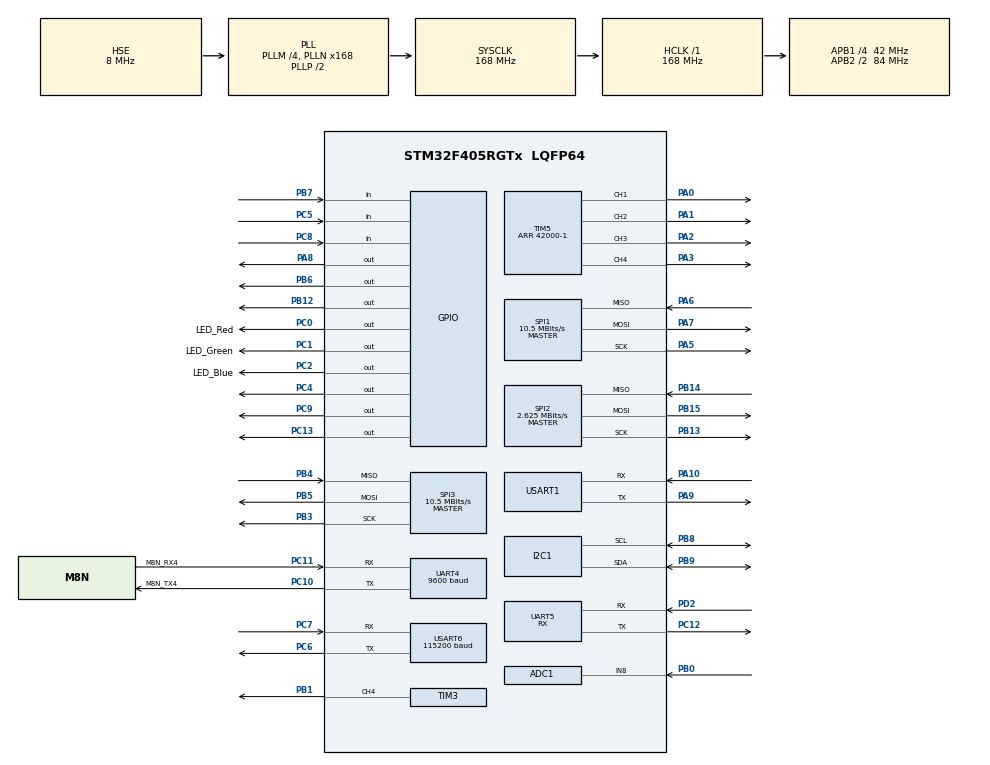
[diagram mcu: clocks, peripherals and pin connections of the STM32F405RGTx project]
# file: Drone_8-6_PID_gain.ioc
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ADC1.Channel-0\#ChannelRegularConversion=ADC_CHANNEL_8
ADC1.ClockPrescaler=ADC_CLOCK_SYNC_PCLK_DIV8
ADC1.ContinuousConvMode=ENABLE
ADC1.DMAContinuousRequests=ENABLE
ADC1.NbrOfConversionFlag=1
ADC1.Rank-0\#ChannelRegularConversion=1
ADC1.SamplingTime-0\#ChannelRegularConversion=ADC_SAMPLETIME_480CYCLES
ADC1.master=1
Dma.ADC1.0.Direction=DMA_PERIPH_TO_MEMORY
Dma.ADC1.0.FIFOMode=DMA_FIFOMODE_DISABLE
Dma.ADC1.0.Instance=DMA2_Stream0
Dma.ADC1.0.MemDataAlignment=DMA_MDATAALIGN_HALFWORD
Dma.ADC1.0.MemInc=DMA_MINC_DISABLE
Dma.ADC1.0.Mode=DMA_CIRCULAR
Dma.ADC1.0.PeriphDataAlignment=DMA_PDATAALIGN_HALFWORD
Dma.ADC1.0.PeriphInc=DMA_PINC_DISABLE
Dma.ADC1.0.Priority=DMA_PRIORITY_LOW
Dma.Request0=ADC1
I2C1.I2C_Mode=I2C_Fast
Mcu.Family=STM32F4
Mcu.Name=STM32F405RGTx
Mcu.Package=LQFP64
NVIC.DMA2_Stream0_IRQn=true\:0\:0\:false\:false\:true\:false\:true\:true
NVIC.PriorityGroup=NVIC_PRIORITYGROUP_4
NVIC.TIM7_IRQn=true\:0\:0\:false\:false\:true\:true\:true\:true
NVIC.UART4_IRQn=true\:0\:0\:false\:false\:true\:true\:true\:true
NVIC.UART5_IRQn=true\:0\:0\:false\:false\:true\:true\:true\:true
NVIC.USART1_IRQn=true\:0\:0\:false\:false\:true\:true\:true\:true
NVIC.USART6_IRQn=true\:0\:0\:false\:false\:true\:true\:true\:true
PA0-WKUP.Signal=S_TIM5_CH1
PA1.Signal=S_TIM5_CH2
PA10.Mode=Asynchronous
PA10.Signal=USART1_RX
PA2.Signal=S_TIM5_CH3
PA3.Signal=S_TIM5_CH4
PA5.Mode=Full_Duplex_Master
PA5.Signal=SPI1_SCK
PA6.Mode=Full_Duplex_Master
PA6.Signal=SPI1_MISO
PA7.Mode=Full_Duplex_Master
PA7.Signal=SPI1_MOSI
PA8.Signal=GPIO_Output
PA9.Mode=Asynchronous
PA9.Signal=USART1_TX
PB0.Signal=ADCx_IN8
PB1.Signal=S_TIM3_CH4
PB12.Signal=GPIO_Output
PB13.Mode=Full_Duplex_Master
PB13.Signal=SPI2_SCK
PB14.Mode=Full_Duplex_Master
PB14.Signal=SPI2_MISO
PB15.Mode=Full_Duplex_Master
PB15.Signal=SPI2_MOSI
PB3.Mode=Full_Duplex_Master
PB3.Signal=SPI3_SCK
PB4.Mode=Full_Duplex_Master
PB4.Signal=SPI3_MISO
PB5.Mode=Full_Duplex_Master
PB5.Signal=SPI3_MOSI
PB6.Signal=GPIO_Output
PB7.Signal=GPIO_Input
PB8.Mode=I2C
PB8.Signal=I2C1_SCL
PB9.Mode=I2C
PB9.Signal=I2C1_SDA
PC0.GPIO_Label=LED_Red
PC0.Signal=GPIO_Output
PC1.GPIO_Label=LED_Green
PC1.Signal=GPIO_Output
PC10.GPIO_Label=M8N_TX4
PC10.Mode=Asynchronous
PC10.Signal=UART4_TX
PC11.GPIO_Label=M8N_RX4
PC11.Mode=Asynchronous
PC11.Signal=UART4_RX
PC12.Mode=Asynchronous
PC12.Signal=UART5_TX
PC13-ANTI_TAMP.PinState=GPIO_PIN_SET
PC13-ANTI_TAMP.Signal=GPIO_Output
PC2.GPIO_Label=LED_Blue
PC2.Signal=GPIO_Output
PC4.Signal=GPIO_Output
PC5.Signal=GPIO_Input
PC6.Mode=Asynchronous
PC6.Signal=USART6_TX
PC7.Mode=Asynchronous
PC7.Signal=USART6_RX
PC8.Signal=GPIO_Input
PC9.Signal=GPIO_Output
PD2.Mode=Asynchronous
PD2.Signal=UART5_RX
PH0-OSC_IN.Mode=HSE-External-Oscillator
PH0-OSC_IN.Signal=RCC_OSC_IN
PH1-OSC_OUT.Mode=HSE-External-Oscillator
PH1-OSC_OUT.Signal=RCC_OSC_OUT
ProjectManager.HeapSize=0x200
ProjectManager.StackSize=0x400
ProjectManager.TargetToolchain=CMake
RCC.48MHZClocksFreq_Value=84000000
RCC.AHBFreq_Value=168000000
RCC.APB1CLKDivider=RCC_HCLK_DIV4
RCC.APB1Freq_Value=42000000
RCC.APB1TimFreq_Value=84000000
RCC.APB2CLKDivider=RCC_HCLK_DIV2
RCC.APB2Freq_Value=84000000
RCC.APB2TimFreq_Value=168000000
RCC.CortexFreq_Value=168000000
RCC.HCLKFreq_Value=168000000
RCC.HSE_VALUE=8000000
RCC.HSI_VALUE=16000000
RCC.LSE_VALUE=32768
RCC.PLLM=4
RCC.PLLN=168
RCC.PLLSourceVirtual=RCC_PLLSOURCE_HSE
RCC.SYSCLKFreq_VALUE=168000000
RCC.SYSCLKSource=RCC_SYSCLKSOURCE_PLLCLK
RCC.VCOOutputFreq_Value=336000000
SH.ADCx_IN8.0=ADC1_IN8,IN8
SH.S_TIM3_CH4.0=TIM3_CH4,PWM Generation4 CH4
SH.S_TIM5_CH1.0=TIM5_CH1,PWM Generation1 CH1
SH.S_TIM5_CH2.0=TIM5_CH2,PWM Generation2 CH2
SH.S_TIM5_CH3.0=TIM5_CH3,PWM Generation3 CH3
SH.S_TIM5_CH4.0=TIM5_CH4,PWM Generation4 CH4
SPI1.BaudRatePrescaler=SPI_BAUDRATEPRESCALER_8
SPI1.CLKPhase=SPI_PHASE_2EDGE
SPI1.CLKPolarity=SPI_POLARITY_HIGH
SPI1.CalculateBaudRate=10.5 MBits/s
SPI1.Direction=SPI_DIRECTION_2LINES
SPI1.Mode=SPI_MODE_MASTER
SPI1.VirtualType=VM_MASTER
SPI2.BaudRatePrescaler=SPI_BAUDRATEPRESCALER_16
SPI2.CLKPhase=SPI_PHASE_2EDGE
SPI2.CLKPolarity=SPI_POLARITY_HIGH
SPI2.CalculateBaudRate=2.625 MBits/s
SPI2.Direction=SPI_DIRECTION_2LINES
SPI2.Mode=SPI_MODE_MASTER
SPI2.VirtualType=VM_MASTER
SPI3.BaudRatePrescaler=SPI_BAUDRATEPRESCALER_4
SPI3.CLKPhase=SPI_PHASE_2EDGE
SPI3.CLKPolarity=SPI_POLARITY_HIGH
SPI3.CalculateBaudRate=10.5 MBits/s
SPI3.Direction=SPI_DIRECTION_2LINES
SPI3.Mode=SPI_MODE_MASTER
SPI3.VirtualType=VM_MASTER
TIM3.AutoReloadPreload=TIM_AUTORELOAD_PRELOAD_ENABLE
TIM3.Channel-PWM\ Generation4\ CH4=TIM_CHANNEL_4
TIM3.OCFastMode_PWM-PWM\ Generation4\ CH4=TIM_OCFAST_ENABLE
TIM3.Period=21-1
TIM3.Prescaler=1000-1
TIM3.Pulse-PWM\ Generation4\ CH4=11-1
TIM5.AutoReloadPreload=TIM_AUTORELOAD_PRELOAD_ENABLE
TIM5.Channel-PWM\ Generation1\ CH1=TIM_CHANNEL_1
TIM5.Channel-PWM\ Generation2\ CH2=TIM_CHANNEL_2
TIM5.Channel-PWM\ Generation3\ CH3=TIM_CHANNEL_3
TIM5.Channel-PWM\ Generation4\ CH4=TIM_CHANNEL_4
TIM5.OCFastMode_PWM-PWM\ Generation1\ CH1=TIM_OCFAST_ENABLE
TIM5.OCFastMode_PWM-PWM\ Generation2\ CH2=TIM_OCFAST_ENABLE
TIM5.OCFastMode_PWM-PWM\ Generation3\ CH3=TIM_OCFAST_ENABLE
TIM5.OCFastMode_PWM-PWM\ Generation4\ CH4=TIM_OCFAST_ENABLE
TIM5.Period=42000-1
TIM5.Pulse-PWM\ Generation1\ CH1=0
TIM5.Pulse-PWM\ Generation2\ CH2=0
TIM5.Pulse-PWM\ Generation3\ CH3=31500-1
TIM7.AutoReloadPreload=TIM_AUTORELOAD_PRELOAD_ENABLE
TIM7.Period=2-1
TIM7.Prescaler=42000-1
UART4.BaudRate=9600
UART4.VirtualMode=Asynchronous
UART5.Mode=MODE_RX
UART5.VirtualMode=Asynchronous
USART1.VirtualMode=VM_ASYNC
USART6.BaudRate=115200
USART6.VirtualMode=VM_ASYNC
VP_TIM3_VS_ClockSourceINT.Mode=Internal
VP_TIM5_VS_ClockSourceINT.Mode=Internal
VP_TIM7_VS_ClockSourceINT.Mode=Enable_Timer
board=custom

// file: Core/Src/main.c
/* USER CODE BEGIN Header */
/**
 ******************************************************************************
 * @file           : main.c
 * @brief          : Main program body
 ******************************************************************************
 * @attention
 *
 * Copyright (c) 2024 STMicroelectronics.
 * All rights reserved.
 *
 * This software is licensed under terms that can be found in the LICENSE file
 * in the root directory of this software component.
 * If no LICENSE file comes with this software, it is provided AS-IS.
 *
 ******************************************************************************
 */
/* USER CODE END Header */
#include "main.h"
#include "adc.h"
#include "dma.h"
#include "i2c.h"
#include "spi.h"
#include "tim.h"
#include "usart.h"
#include "gpio.h"

/* USER CODE BEGIN Includes */
#include "BNO080.h"
#include "Quaternion.h"
#include "ICM20602.h"
#include "LPS22HH.h"
#include "M8N.h"
#include "FS-iA6B.h"
#include "AT24C08.h"
#include <string.h>
/* USER CODE END Includes */

/* USER CODE BEGIN PTD */

int _write(int file, char *p, int len) {
	HAL_UART_Transmit_IT(&huart6, p, len);
	return len;
}

/* USER CODE END PTD */

/* USER CODE BEGIN PV */
uint8_t uart6_rxData;
uint8_t uart5_rxData;
uint8_t uart4_rxData;
uint8_t uart1_rxData;

uint8_t m8n_rx_buf[36]; //m8n 1frame data size
uint8_t m8n_rx_cplt_flag = 0;

uint8_t ibus_rx_buf[32];
uint8_t ibus_rx_cplt_flag = 0;

float batVolt;

uint8_t telemetry_tx_buf[40];
uint8_t telemetry_rx_buf[40];
uint8_t telemetry_rx_cplt_flag = 0;
uint8_t tim7_20ms_flag = 0;
uint8_t tim7_100ms_flag = 0;
/* USER CODE END PV */

void SystemClock_Config(void);
/* USER CODE BEGIN PFP */
int Is_iBus_Throttle_Min(void);
void ESC_Calibration(void);
int Is_iBus_Received();
void BNO080_Calibration(void);
void Encode_Msg_AHRS(uint8_t *telemetry_tx_buf);
void Encode_Msg_GPS(uint8_t *telemetry_tx_buf);
void Encode_Msg_PID_Gain(uint8_t *telemetry_tx_buf, uint8_t id, float p,
		float i, float d);

/* USER CODE END PFP */

int main(void) {

	/* USER CODE BEGIN 1 */
	float q[4];
	float quatRadianAccuracy;
	unsigned char buf_read[16] = { 0 };
	unsigned char buf_write[16] = { 1, 2, 3, 4, 5, 6, 7, 8, 9, 10, 11, 12, 13,
			14, 15, 16 };
	unsigned short adcVal;
	//find offset data and init
	short gyro_x_offset = 3, gyro_y_offset = 10, gyro_z_offset = -3;

	/* USER CODE END 1 */

	/* MCU Configuration--------------------------------------------------------*/

	/* Reset of all peripherals, Initializes the Flash interface and the Systick. */
	HAL_Init();

	/* Configure the system clock */
	SystemClock_Config();

	/* Initialize all configured peripherals */
	MX_GPIO_Init();
	MX_DMA_Init();
	MX_TIM3_Init();
	MX_USART6_UART_Init();
	MX_SPI2_Init();
	MX_SPI1_Init();
	MX_SPI3_Init();
	MX_UART4_Init();
	MX_UART5_Init();
	MX_TIM5_Init();
	MX_I2C1_Init();
	MX_ADC1_Init();
	MX_USART1_UART_Init();
	MX_TIM7_Init();
	/* USER CODE BEGIN 2 */

	M8N_initialization();
	HAL_UART_Receive_IT(&huart1, &uart1_rxData, 1);
	HAL_UART_Receive_IT(&huart6, &uart6_rxData, 1);
	HAL_UART_Receive_IT(&huart4, &uart4_rxData, 1);
	HAL_UART_Receive_IT(&huart5, &uart5_rxData, 1);

	BNO080_Initialization();
	BNO080_enableRotationVector(2500);

	ICM20602_Initialization();
	LPS22HH_Initialization();

	HAL_TIM_PWM_Start(&htim5, TIM_CHANNEL_1);
	HAL_TIM_PWM_Start(&htim5, TIM_CHANNEL_2);
	HAL_TIM_PWM_Start(&htim5, TIM_CHANNEL_3);
	HAL_TIM_PWM_Start(&htim5, TIM_CHANNEL_4);

	HAL_TIM_Base_Start_IT(&htim7);

	// pdata?�� ?��?��?���??? ???��?�� 주소

	ICM20602_Writebyte(0x13, (gyro_x_offset * -2) >> 8);
	ICM20602_Writebyte(0x14, (gyro_x_offset * -2));

	ICM20602_Writebyte(0x15, (gyro_y_offset * -2) >> 8);
	ICM20602_Writebyte(0x16, (gyro_y_offset * -2));

	ICM20602_Writebyte(0x17, (gyro_x_offset * -2) >> 8);
	ICM20602_Writebyte(0x18, (gyro_x_offset * -2));

	float kp, ki, kd;

	for (int i = 0; i < 6; i++) {
		EP_PIDGain_Read(0, &kp, &ki, &kd);
		Encode_Msg_PID_Gain(&telemetry_tx_buf[0], i, kp, ki, kd);
		HAL_UART_Transmit(&huart1, &telemetry_tx_buf[0], 20, 10);
	}
	// adcVal = ADC1->DR; ?�� 코드�??? ?��?��?�� ?��?���??? ?��?���???�??? ?��?��.

//	while(Is_iBus_Received()==0)
//	{
//		HAL_TIM_PWM_Start(&htim3, TIM_CHANNEL_4);
//		htim3.Instance->PSC = 3000;
//		HAL_Delay(200);
//		HAL_TIM_PWM_Stop(&htim3, TIM_CHANNEL_4);
//		HAL_Delay(200);
//	}

//	if(iBus.SwC==2000){
//		HAL_TIM_PWM_Start(&htim3, TIM_CHANNEL_4);
//		htim3.Instance->PSC = 1500;
//		HAL_Delay(200);
//		htim3.Instance->PSC = 2000;
//		HAL_Delay(200);
//		htim3.Instance->PSC = 1500;
//		HAL_Delay(200);
//		htim3.Instance->PSC = 2000;
//		HAL_Delay(200);
//		HAL_TIM_PWM_Stop(&htim3, TIM_CHANNEL_4);
//
//		ESC_Calibration();
//		while(iBus.SwC != 1000)
//		{
//			HAL_TIM_PWM_Start(&htim3, TIM_CHANNEL_4);
//			htim3.Instance->PSC = 1500;
//			HAL_Delay(200);
//			htim3.Instance->PSC = 2000;
//			HAL_Delay(200);
//			HAL_TIM_PWM_Stop(&htim3, TIM_CHANNEL_4);
//
//			Is_iBus_Received();
//		}
//	}
//
//	else if(iBus.SwC == 1500)
//	{
//		HAL_TIM_PWM_Start(&htim3, TIM_CHANNEL_4);
//		htim3.Instance->PSC = 1500;
//		HAL_Delay(200);
//		htim3.Instance->PSC = 2000;
//		HAL_Delay(200);
//		htim3.Instance->PSC = 1500;
//		HAL_Delay(200);
//		htim3.Instance->PSC = 2000;
//		HAL_Delay(200);
//		HAL_TIM_PWM_Stop(&htim3, TIM_CHANNEL_4);
//
//		BNO080_Calibration();
//
//		while(iBus.SwC != 1000)
//		{
//			HAL_TIM_PWM_Start(&htim3, TIM_CHANNEL_4);
//			htim3.Instance->PSC = 1500;
//			HAL_Delay(200);
//			htim3.Instance->PSC = 2000;
//			HAL_Delay(200);
//			HAL_TIM_PWM_Stop(&htim3, TIM_CHANNEL_4);
//
//			Is_iBus_Received();
//		}
//
//	}
//
//	while (Is_iBus_Throttle_Min() == 0){
//		HAL_TIM_PWM_Start(&htim3, TIM_CHANNEL_4);
//		htim3.Instance->PSC = 1000;
//		HAL_Delay(70);
//		HAL_TIM_PWM_Stop(&htim3, TIM_CHANNEL_4);
//		HAL_Delay(70);
//	}

	HAL_TIM_PWM_Start(&htim3, TIM_CHANNEL_4);

	htim3.Instance->PSC = 2000;
	HAL_Delay(100);
	htim3.Instance->PSC = 1500;
	HAL_Delay(100);
	htim3.Instance->PSC = 1000;
	HAL_Delay(100);

	HAL_TIM_PWM_Stop(&htim3, TIM_CHANNEL_4);
//	printf("start\n");
	/* USER CODE END 2 */

	/* Infinite loop */
	while (1) {

		/* USER CODE BEGIN 3 */

		if (telemetry_rx_cplt_flag == 1) {
			telemetry_rx_cplt_flag = 0;
			if (iBus.SwA == 1000) {

				unsigned char chksum = 0xff;
				for (int i = 0; i < 19; i++)
					chksum = chksum - telemetry_rx_buf[i];
				if (chksum == telemetry_rx_buf[19]) {
					switch (telemetry_rx_buf[2]) {
					case 0:
					case 1:
					case 2:
					case 3:
					case 4:
					case 5:
						kp = *(float*) &telemetry_rx_buf[3];
						ki = *(float*) &telemetry_rx_buf[7];
						kd = *(float*) &telemetry_rx_buf[11];
						EP_PIDGain_Write(telemetry_rx_buf[2], kp, ki, kd);
						EP_PIDGain_Read(telemetry_rx_buf[2], &kp, &ki, &kd);
						Encode_Msg_PID_Gain(&telemetry_tx_buf[0],
								telemetry_rx_buf[2], kp, ki, kd);
						HAL_UART_Transmit_IT(&huart1, &telemetry_tx_buf[0], 20);
						break;
					}
				}
			}
		}

		if (tim7_20ms_flag == 1 && tim7_100ms_flag != 1) {
			tim7_20ms_flag = 0;
			Encode_Msg_AHRS(&telemetry_tx_buf[0]);
			HAL_UART_Transmit_IT(&huart1, &telemetry_tx_buf[0], 20);
		} else if (tim7_20ms_flag == 1 && tim7_100ms_flag == 1) {
			tim7_100ms_flag = 0;
			tim7_20ms_flag = 0;
			Encode_Msg_AHRS(&telemetry_tx_buf[0]);
			Encode_Msg_GPS(&telemetry_tx_buf[20]);
			HAL_UART_Transmit_IT(&huart1, &telemetry_tx_buf[0], 40);
		}

		batVolt = adcVal * 0.003619f;
		//printf("%d\t%.2f\n",adcVal, batVolt);
		if (batVolt < 10.0f) {
			htim3.Instance->PSC = 1000;
			HAL_TIM_PWM_Start(&htim3, TIM_CHANNEL_4);
		} else {
			HAL_TIM_PWM_Stop(&htim3, TIM_CHANNEL_4);
		}

		if (BNO080_dataAvailable() == 1) {
			q[0] = BNO080_getQuatI();
			q[1] = BNO080_getQuatJ();
			q[2] = BNO080_getQuatK();
			q[3] = BNO080_getQuatReal();
			quatRadianAccuracy = BNO080_getQuatAccuracy();

			Quaternion_Update(&q[0]);

//			printf("%.2f,%.2f,%.2f\n", BNO080_Roll, BNO080_Pitch, BNO080_Yaw);
		}

		if (ICM20602_DataReady() == 1) {
			ICM20602_Get3AxisGyroRawData(&ICM20602.gyro_x_raw);

			ICM20602.gyro_x = ICM20602.gyro_x_raw * 2000.f / 32768.f;
			ICM20602.gyro_y = ICM20602.gyro_y_raw * 2000.f / 32768.f;
			ICM20602.gyro_z = ICM20602.gyro_z_raw * 2000.f / 32768.f;

//		  printf("%.4f,%.4f,%.4f\n", ICM20602.gyro_x_raw, ICM20602.gyro_y_raw,ICM20602.gyro_z_raw);
		}
		if (LPS22HH_DataReady() == 1) {
			LPS22HH_GetPressure(&LPS22HH.pressure_raw);
			LPS22HH_GetTemperature(&LPS22HH.temperature_raw);

			LPS22HH.baroAlt = getAltitude2(LPS22HH.pressure_raw / 4096.f,
					LPS22HH.temperature_raw / 100.f);

#define X 0.90f

			LPS22HH.baroAltFilt = LPS22HH.baroAltFilt * X
					+ LPS22HH.baroAlt * (1.0f - X);

//		  printf("%d,%d\n",(int)(LPS22HH.baroAlt*100), (int)(LPS22HH.baroAltFilt*100));
		}

		if (m8n_rx_cplt_flag == 1) {
			m8n_rx_cplt_flag = 0;
			if (M8N_UBX_CHKSUM_check(&m8n_rx_buf[0], 36) == 1) //Checksum Same
					{
				HAL_GPIO_TogglePin(LED_Blue_GPIO_Port, LED_Blue_Pin);
				M8N_UBX_NAV_POSLLH_Parsing(&m8n_rx_buf[0], &posllh);

//				printf("LAT: %ld\tLON: %ld\tHeight: %ld\n", posllh.lat,	posllh.lon, posllh.height);
			}
		}

		if (ibus_rx_cplt_flag == 1) {
			ibus_rx_cplt_flag = 0;
			if (iBus_Check_CHKSUM(&ibus_rx_buf[0], sizeof(ibus_rx_buf))) {
				iBus_Parsing(&ibus_rx_buf[0], &iBus);
				if (iBus_isActiveFailsafe(&iBus) == 1) {
					HAL_TIM_PWM_Start(&htim3, TIM_CHANNEL_4);
				} else {
					HAL_TIM_PWM_Stop(&htim3, TIM_CHANNEL_4);
				}
//				printf("%d\t%d\t%d\t%d\t%d\t%d\n",iBus.RH,iBus.RV,iBus.LH,iBus.LV,iBus.SwA,iBus.SwC);
//				HAL_Delay(100);
			}
		}
//		tim5_ccr4 += 10;
//		if(tim5_ccr4>21000) tim5_ccr4 = 10500;
//		TIM5->CCR4 = tim5_ccr4;
//		HAL_Delay(1);
	}
	/* USER CODE END 3 */
}

void SystemClock_Config(void) {
	RCC_OscInitTypeDef RCC_OscInitStruct = { 0 };
	RCC_ClkInitTypeDef RCC_ClkInitStruct = { 0 };

	/** Configure the main internal regulator output voltage
	 */
	__HAL_RCC_PWR_CLK_ENABLE();
	__HAL_PWR_VOLTAGESCALING_CONFIG(PWR_REGULATOR_VOLTAGE_SCALE1);

	/** Initializes the RCC Oscillators according to the specified parameters
	 * in the RCC_OscInitTypeDef structure.
	 */
	RCC_OscInitStruct.OscillatorType = RCC_OSCILLATORTYPE_HSE;
	RCC_OscInitStruct.HSEState = RCC_HSE_ON;
	RCC_OscInitStruct.PLL.PLLState = RCC_PLL_ON;
	RCC_OscInitStruct.PLL.PLLSource = RCC_PLLSOURCE_HSE;
	RCC_OscInitStruct.PLL.PLLM = 4;
	RCC_OscInitStruct.PLL.PLLN = 168;
	RCC_OscInitStruct.PLL.PLLP = RCC_PLLP_DIV2;
	RCC_OscInitStruct.PLL.PLLQ = 4;
	if (HAL_RCC_OscConfig(&RCC_OscInitStruct) != HAL_OK) {
		Error_Handler();
	}

	/** Initializes the CPU, AHB and APB buses clocks
	 */
	RCC_ClkInitStruct.ClockType = RCC_CLOCKTYPE_HCLK | RCC_CLOCKTYPE_SYSCLK
			| RCC_CLOCKTYPE_PCLK1 | RCC_CLOCKTYPE_PCLK2;
	RCC_ClkInitStruct.SYSCLKSource = RCC_SYSCLKSOURCE_PLLCLK;
	RCC_ClkInitStruct.AHBCLKDivider = RCC_SYSCLK_DIV1;
	RCC_ClkInitStruct.APB1CLKDivider = RCC_HCLK_DIV4;
	RCC_ClkInitStruct.APB2CLKDivider = RCC_HCLK_DIV2;

	if (HAL_RCC_ClockConfig(&RCC_ClkInitStruct, FLASH_LATENCY_5) != HAL_OK) {
		Error_Handler();
	}
}

/* USER CODE BEGIN 4 */
int Is_iBus_Throttle_Min(void) {
	if (ibus_rx_cplt_flag == 1) {
		ibus_rx_cplt_flag = 0;
		if (iBus_Check_CHKSUM(&ibus_rx_buf[0], sizeof(ibus_rx_buf))) {

			iBus_Parsing(&ibus_rx_buf[0], &iBus);
			if (iBus.LV < 1010)
				return 1;
		}
	}
	return 0;
}

void ESC_Calibration(void) {
	TIM5->CCR1 = 21000;
	TIM5->CCR2 = 21000;
	TIM5->CCR3 = 21000;
	TIM5->CCR4 = 21000;
	HAL_Delay(7000);

	TIM5->CCR1 = 10500;
	TIM5->CCR2 = 10500;
	TIM5->CCR3 = 10500;
	TIM5->CCR4 = 10500;
	HAL_Delay(8000);
}

int Is_iBus_Received() {
	if (ibus_rx_cplt_flag == 1) {
		ibus_rx_cplt_flag = 0;
		if (iBus_Check_CHKSUM(&ibus_rx_buf[0], sizeof(ibus_rx_buf))) {

			iBus_Parsing(&ibus_rx_buf[0], &iBus);
			return 1;
		}
	}
	return 0;
}

void HAL_UART_RxCpltCallback(UART_HandleTypeDef *huart) {

	static unsigned char cnt = 0;
	static unsigned char cnt_ibus = 0;
	static unsigned char cnt_Rxdata = 0;
	if (huart->Instance == USART1) {
		switch (cnt_Rxdata) {
		case 0:
			if (uart1_rxData == 0x47) {
				telemetry_rx_buf[cnt_Rxdata] = uart1_rxData;
				cnt_Rxdata++;
			}
			break;
		case 1:
			if (uart1_rxData == 0x53) {
				telemetry_rx_buf[cnt_Rxdata] = uart1_rxData;
				cnt_Rxdata++;
			} else
				cnt_Rxdata = 0;
			break;
		case 19:
			telemetry_rx_buf[cnt_Rxdata] = uart1_rxData;
			cnt_Rxdata = 0;
			telemetry_rx_cplt_flag = 1;
			break;
		default:
			telemetry_rx_buf[cnt_Rxdata] = uart1_rxData;
			cnt_Rxdata++;
			break;
		}
		HAL_UART_Receive_IT(&huart1, &uart1_rxData, 1);

	}

	if (huart->Instance == UART5) {
		HAL_UART_Receive_IT(&huart5, &uart5_rxData, 1);

		//HAL_UART_Transmit_IT(&huart6, uart5_rxData, 1);

		switch (cnt_ibus) {
		case 0:
			if (uart5_rxData == 0x20) {
				ibus_rx_buf[cnt_ibus] = uart5_rxData;
				cnt_ibus++;
			}
			break;

		case 1:
			if (uart5_rxData == 0x40) {
				ibus_rx_buf[cnt_ibus] = uart5_rxData;
				cnt_ibus++;
			} else {
				cnt_ibus = 0;
			}
			break;

		case 31:
			ibus_rx_buf[cnt_ibus] = uart5_rxData;
			cnt_ibus = 0;
			ibus_rx_cplt_flag = 1;
			break;

		default:
			ibus_rx_buf[cnt_ibus] = uart5_rxData;
			cnt_ibus++;
			break;
		}

	}
	if (huart->Instance == UART4) {

		HAL_UART_Receive_IT(&huart4, &uart4_rxData, 1);

		//GPS�???????? ?��?�� ?��?��받�? ?��?��?���???????? 바로 com?���???????? 보내�????????기에 주석처리?��?��.
		//HAL_UART_Transmit(&huart6, &uart4_rxData, 1, 0);

		switch (cnt) {
		case 0:
			if (uart4_rxData == 0xb5) {
				m8n_rx_buf[cnt] = uart4_rxData;
				cnt++;
			}
			break;
		case 1:
			if (uart4_rxData == 0x62) {
				m8n_rx_buf[cnt] = uart4_rxData;
				cnt++;
			} else
				cnt = 0;
			break;
		case 35:
			m8n_rx_buf[cnt] = uart4_rxData;
			cnt = 0;
			m8n_rx_cplt_flag = 1;
		default: //case?�� 만족?���???????? ?��?��?�� ?��?��?��?��.
			m8n_rx_buf[cnt] = uart4_rxData;
			cnt++;
			break;
		}
	}

	if (huart->Instance == USART6) {
		HAL_UART_Receive_IT(&huart6, &uart6_rxData, 1);
//		HAL_UART_Transmit_IT(&huart4, &uart6_rxData, 1);
	}
}

void BNO080_Calibration(void) {
	//Resets BNO080 to disable All output
	BNO080_Initialization();

	//BNO080/BNO085 Configuration
	//Enable dynamic calibration for accelerometer, gyroscope, and magnetometer
	//Enable Game Rotation Vector output
	//Enable Magnetic Field output
	BNO080_calibrateAll(); //Turn on cal for Accel, Gyro, and Mag
	BNO080_enableGameRotationVector(20000); //Send data update every 20ms (50Hz)
	BNO080_enableMagnetometer(20000); //Send data update every 20ms (50Hz)

	//Once magnetic field is 2 or 3, run the Save DCD Now command
	printf(
			"Calibrating BNO080. Pull up FS-i6 SWC to end calibration and save to flash\n");
	printf("Output in form x, y, z, in uTesla\n\n");

	//while loop for calibration procedure
	//Iterates until iBus.SwC is mid point (1500)
	//Calibration procedure should be done while this loop is in iteration.
	while (iBus.SwC == 1500) {
		if (BNO080_dataAvailable() == 1) {
			//Observing the status bit of the magnetic field output
			float x = BNO080_getMagX();
			float y = BNO080_getMagY();
			float z = BNO080_getMagZ();
			unsigned char accuracy = BNO080_getMagAccuracy();

			float quatI = BNO080_getQuatI();
			float quatJ = BNO080_getQuatJ();
			float quatK = BNO080_getQuatK();
			float quatReal = BNO080_getQuatReal();
			unsigned char sensorAccuracy = BNO080_getQuatAccuracy();

			printf("%f,%f,%f,", x, y, z);
			if (accuracy == 0)
				printf("Unreliable\t");
			else if (accuracy == 1)
				printf("Low\t");
			else if (accuracy == 2)
				printf("Medium\t");
			else if (accuracy == 3)
				printf("High\t");

			printf("\t%f,%f,%f,%f,", quatI, quatI, quatI, quatReal);
			if (sensorAccuracy == 0)
				printf("Unreliable\n");
			else if (sensorAccuracy == 1)
				printf("Low\n");
			else if (sensorAccuracy == 2)
				printf("Medium\n");
			else if (sensorAccuracy == 3)
				printf("High\n");

			//Turn the LED and buzzer on when both accuracy and sensorAccuracy is high
			if (accuracy == 3 && sensorAccuracy == 3) {
				HAL_GPIO_WritePin(GPIOC,
				LED_Blue_Pin | LED_Green_Pin | LED_Red_Pin, 1);
				htim3.Instance->PSC = 65000; //Very low frequency
				HAL_TIM_PWM_Start(&htim3, TIM_CHANNEL_4);

			} else {
				HAL_GPIO_WritePin(GPIOC,
				LED_Blue_Pin | LED_Green_Pin | LED_Red_Pin, 0);

				HAL_TIM_PWM_Stop(&htim3, TIM_CHANNEL_4);
			}
		}

		Is_iBus_Received(); //Refreshes iBus Data for iBus.SwC
		HAL_Delay(100);
	}

	//Ends the loop when iBus.SwC is not mid point
	//Turn the LED and buzzer off
	HAL_GPIO_WritePin(GPIOC, LED_Blue_Pin | LED_Green_Pin | LED_Red_Pin, 0);

	HAL_TIM_PWM_Stop(&htim3, TIM_CHANNEL_4);

	//Saves the current dynamic calibration data (DCD) to memory
	//Sends command to get the latest calibration status
	BNO080_saveCalibration();
	BNO080_requestCalibrationStatus();

	//Wait for calibration response, timeout if no response
	int counter = 100;
	while (1) {
		if (--counter == 0)
			break;
		if (BNO080_dataAvailable()) {
			//The IMU can report many different things. We must wait
			//for the ME Calibration Response Status byte to go to zero
			if (BNO080_calibrationComplete() == 1) {
				printf("\nCalibration data successfully stored\n");
				HAL_TIM_PWM_Start(&htim3, TIM_CHANNEL_4);
				TIM3->PSC = 2000;
				HAL_Delay(300);
				TIM3->PSC = 1500;
				HAL_Delay(300);
				HAL_TIM_PWM_Stop(&htim3, TIM_CHANNEL_4);
				HAL_Delay(1000);
				break;
			}
		}
		HAL_Delay(10);
	}
	if (counter == 0) {
		printf("\nCalibration data failed to store. Please try again.\n");
		HAL_TIM_PWM_Start(&htim3, TIM_CHANNEL_4);
		TIM3->PSC = 1500;
		HAL_Delay(300);
		TIM3->PSC = 2000;
		HAL_Delay(300);
		HAL_TIM_PWM_Stop(&htim3, TIM_CHANNEL_4);
		HAL_Delay(1000);
	}

	//BNO080_endCalibration(); //Turns off all calibration
	//In general, calibration should be left on at all times. The BNO080
	//auto-calibrates and auto-records cal data roughly every 5 minutes

	//Resets BNO080 to disable Game Rotation Vector and Magnetometer
	//Enables Rotation Vector
	BNO080_Initialization();
	BNO080_enableRotationVector(2500); //Send data update every 2.5ms (400Hz)
}

void Encode_Msg_AHRS(uint8_t *telemetry_tx_buf) {

	telemetry_tx_buf[0] = 0x46;
	telemetry_tx_buf[1] = 0x43;

	telemetry_tx_buf[2] = 0x10;

	telemetry_tx_buf[3] = (short) (BNO080_Roll * 100);
	telemetry_tx_buf[4] = ((short) (BNO080_Roll * 100)) >> 8;

	telemetry_tx_buf[5] = (short) (BNO080_Pitch * 100);
	telemetry_tx_buf[6] = ((short) (BNO080_Pitch * 100)) >> 8;

	telemetry_tx_buf[7] = (unsigned short) (BNO080_Yaw * 100);
	telemetry_tx_buf[8] = ((unsigned short) (BNO080_Yaw * 100)) >> 8;

	telemetry_tx_buf[9] = (short) (LPS22HH.baroAltFilt * 10);
	telemetry_tx_buf[10] = ((short) (LPS22HH.baroAltFilt * 10)) >> 8;

	telemetry_tx_buf[11] = (short) ((iBus.RH - 1500) * 0.1f * 100);
	telemetry_tx_buf[12] = ((short) ((iBus.RH - 1500) * 0.1f * 100)) >> 8;

	telemetry_tx_buf[13] = (short) ((iBus.RV - 1500) * 0.1f * 100);
	telemetry_tx_buf[14] = ((short) ((iBus.RV - 1500) * 0.1f * 100)) >> 8;

	telemetry_tx_buf[15] = (unsigned short) ((iBus.LH - 1000) * 0.36f * 100);
	telemetry_tx_buf[16] = ((unsigned short) ((iBus.LH - 1000) * 0.36f * 100))
			>> 8;

	telemetry_tx_buf[17] = 0x00;
	telemetry_tx_buf[18] = 0x00;

	telemetry_tx_buf[19] = 0xff;

	for (int i = 0; i < 19; i++)
		telemetry_tx_buf[19] = telemetry_tx_buf[19] - telemetry_tx_buf[i];

}

void Encode_Msg_GPS(uint8_t *telemetry_tx_buf) {
	telemetry_tx_buf[0] = 0x46;
	telemetry_tx_buf[1] = 0x43;

	telemetry_tx_buf[2] = 0x11;

	telemetry_tx_buf[3] = posllh.lat;
	telemetry_tx_buf[4] = posllh.lat >> 8;

	telemetry_tx_buf[5] = posllh.lat >> 16;
	telemetry_tx_buf[6] = posllh.lat >> 24;

	telemetry_tx_buf[7] = posllh.lon;
	telemetry_tx_buf[8] = posllh.lon >> 8;

	telemetry_tx_buf[9] = posllh.lon >> 16;
	telemetry_tx_buf[10] = posllh.lon >> 24;

	telemetry_tx_buf[11] = (unsigned short) (batVolt * 100);
	telemetry_tx_buf[12] = ((unsigned short) (batVolt * 100)) >> 8;

	telemetry_tx_buf[13] = iBus.SwA == 1000 ? 0 : 1;
	telemetry_tx_buf[14] = iBus.SwC == 1000 ? 0 : iBus.SwC == 1500 ? 1 : 2;

	telemetry_tx_buf[15] = iBus_isActiveFailsafe(&iBus);

	telemetry_tx_buf[16] = 0x00;
	telemetry_tx_buf[17] = 0x00;
	telemetry_tx_buf[18] = 0x00;

	telemetry_tx_buf[19] = 0xff;

	for (int i = 0; i < 19; i++)
		telemetry_tx_buf[19] = telemetry_tx_buf[19] - telemetry_tx_buf[i];

}

void Encode_Msg_PID_Gain(uint8_t *telemetry_tx_buf, uint8_t id, float p,
		float i, float d) {
	telemetry_tx_buf[0] = 0x46;
	telemetry_tx_buf[1] = 0x43;

	telemetry_tx_buf[2] = id;

//	memcpy(&telemetry_tx_buf[3], &p, 4);
//	memcpy(&telemetry_tx_buf[7], &i, 4);
//	memcpy(&telemetry_tx_buf[11], &d, 4);

	*(float*) &telemetry_tx_buf[3] = p;
	*(float*) &telemetry_tx_buf[7] = i;
	*(float*) &telemetry_tx_buf[11] = d;

	telemetry_tx_buf[15] = 0x00;
	telemetry_tx_buf[16] = 0x00;
	telemetry_tx_buf[17] = 0x00;
	telemetry_tx_buf[18] = 0x00;

	telemetry_tx_buf[19] = 0xff;

	for (int i = 0; i < 19; i++)
		telemetry_tx_buf[19] = telemetry_tx_buf[19] - telemetry_tx_buf[i];

}

/* USER CODE END 4 */

void Error_Handler(void) {
	__disable_irq();
	while (1) {
	}
}
